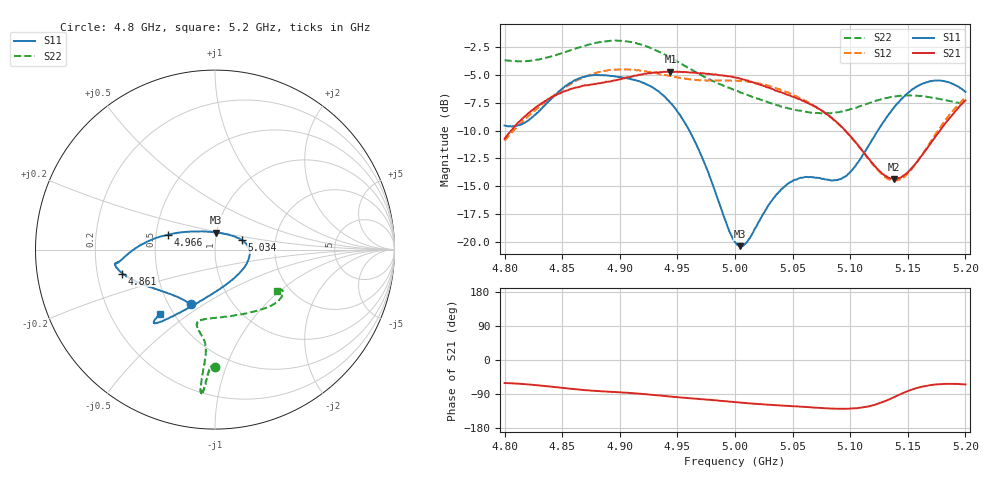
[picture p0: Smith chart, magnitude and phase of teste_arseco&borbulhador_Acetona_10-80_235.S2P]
! Network Analyzer HP8722D
! Hewlett-Packard
! Data name: Linha & Wilkinson
! Saver's name: Rodrigo Anjos
! Comments: Teste da utilização de aquisição
! continua pelo VNA HP8722D
! Time and date: 17/4/2025 16:19
!  Frequency  S11  S21  S12  S22
# HZ  S  MA R 50
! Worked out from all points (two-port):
!   401 points, 4.8 GHz to 5.2 GHz, reference 50 ohm
!   highest |S21| = -4.68 dB at 4.944 GHz (marker M1); lowest = -14.4 dB at 5.138 GHz (marker M2)
!   |S21| within 3 dB of the highest: 4.83 GHz to 5.067 GHz (236.4 MHz wide, 4.78 % of centre); 5.19617 GHz to end of sweep
!   lowest |S11| = -20.4 dB at 5.004 GHz (marker M3), VSWR 1.21, Z = 49.7 + j9.55 ohm
!   |S11| at or under -10 dB: 4.96 GHz to 5.124 GHz (163.6 MHz wide, 3.24 % of centre)
!   |S22| runs from -8.5 to -1.9 dB; largest |S21 - S12| = 0.88
!   S11 on the Smith chart (normalised r, x): 4.8 GHz: 0.64, -0.44; 4.861 GHz: 0.31, -0.12; 4.966 GHz: 0.58, +0.10; 5.034 GHz: 1.34, +0.15; 5.2 GHz: 0.42, -0.39
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4.8e9  0.3334 -113.6  0.2906 -60.8  0.2849 -175.0  0.6563 -90.1
4.819e9  0.3474 -133.5  0.3715 -64.2  0.3607 -173.8  0.6505 -91.6
4.861e9  0.5337 -165.5  0.493 -77.0  0.526 -176.9  0.737 -94.0
4.867e9  0.5479 -167.9  0.502 -78.9  0.5448 -177.9  0.756 -94.1
4.9e9  0.5506 -172.5  0.5385 -85.4  0.5956 175.4  0.8027 -95.5
4.934e9  0.4734 -178.2  0.5781 -93.6  0.5708 171.8  0.7156 -95.8
4.944e9  0.4222 177.1  0.5832 -96.5  0.5567 171.8  0.6747 -95.6
4.966e9  0.2771 162.5  0.5762 -102.1  0.5346 173.6  0.5797 -95.1
5e9  0.09971 100.4  0.5482 -111.1  0.5316 176.1  0.4801 -99.3
5.004e9  0.0954 86.1  0.5428 -112.0  0.5293 176.1  0.4714 -100.1
5.012e9  0.1025 59.3  0.5279 -114.3  0.5244 175.8  0.4552 -101.8
5.034e9  0.158 19.8  0.4822 -119.3  0.4931 174.8  0.4155 -103.5
5.05e9  0.1875 3.5  0.4495 -121.9  0.4585 174.0  0.3954 -99.4
5.067e9  0.195 -14.6  0.4125 -125.2  0.4144 173.6  0.3809 -90.6
5.086e9  0.189 -44.8  0.3528 -128.2  0.3528 173.7  0.3805 -76.0
5.097e9  0.1982 -67.2  0.3107 -128.6  0.3109 174.7  0.3902 -67.0
5.134e9  0.3772 -116.8  0.1935 -103.7  0.1902 -156.5  0.4467 -43.0
5.138e9  0.4021 -119.1  0.191 -98.0  0.1882 -150.3  0.4498 -41.2
5.151e9  0.4707 -124.8  0.2078 -80.8  0.2052 -130.3  0.4557 -36.5
5.17e9  0.5284 -129.0  0.2777 -66.1  0.2829 -112.3  0.4463 -32.0
5.184e9  0.5246 -130.3  0.3487 -63.1  0.36 -107.3  0.4323 -31.0
5.2e9  0.4724 -130.7  0.432 -64.5  0.445 -106.6  0.4152 -33.4
